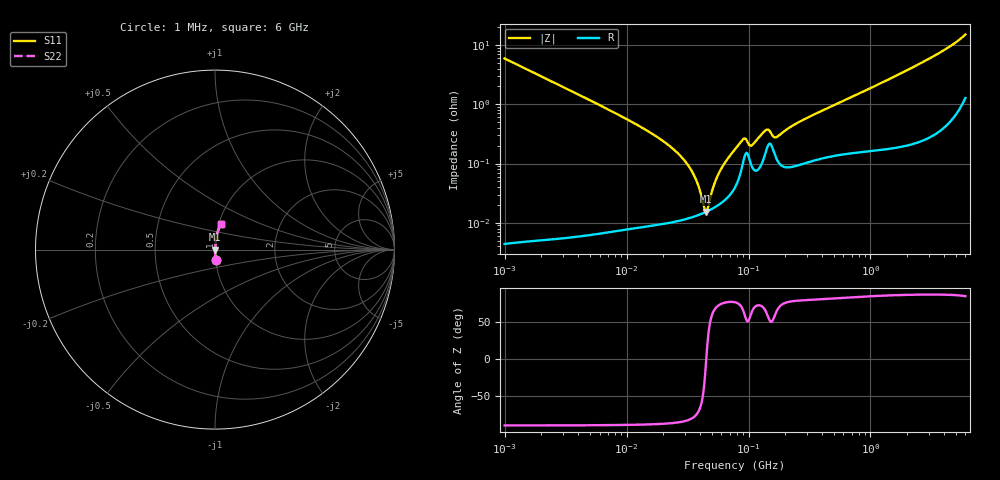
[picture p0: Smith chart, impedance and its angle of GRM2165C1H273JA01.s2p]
!Murata Part Number: GRM2165C1H273JA01
!These Parameters are Measured in Series Mode Connection
!Data Generated on Mar 30, 2021
!  o--ll--o
!Port1  Port2
!  o------o
!Operation Temp=25[degC], DC Bias Voltage=0[V]
!Freq. Start=1000[kHz] Stop=6[GHz] 401[Steps]
# Hz S RI R 50
!Freq.(Hz) S11(Real) S11(Imag) S21(Real) S21(Imag) S12(Real) S12(Imag) S22(Real) S22(Imag)
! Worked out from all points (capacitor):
!   401 points, 1 MHz to 6 GHz, reference 50 ohm
!   read as one part in series: C = 26.8 nF near 1.044 MHz
!   lowest |Z| = 15.3 mohm at 44.97 MHz (marker M1)
!   series resonance near 45.03 MHz, so ESL is about 470 pH
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1000000  0.00355 -0.0591  0.9965 0.0591  0.9965 0.0591  0.00355 -0.0591
4293785  0.000246 -0.0137  0.9998 0.0137  0.9998 0.0137  0.000246 -0.0137
1.843659e7  0.0001 -0.00268  0.9999 0.00268  0.9999 0.00268  0.0001 -0.00268
2.554826e7  0.000108 -0.00158  0.9999 0.00158  0.9999 0.00158  0.000108 -0.00158
3.245342e7  0.00012 -0.000884  0.9999 0.000884  0.9999 0.000884  0.00012 -0.000884
3.697709e7  0.00013 -0.000528  0.9999 0.000528  0.9999 0.000528  0.00013 -0.000528
3.947016e7  0.000137 -0.000352  0.9999 0.000352  0.9999 0.000352  0.000137 -0.000352
4.305766e7  0.000147 -0.00012  0.9999 0.00012  0.9999 0.00012  0.000147 -0.00012
4.497189e7  0.000153 -3.3e-06  0.9998 3.3e-06  0.9998 3.3e-06  0.000153 -3.3e-06
4.697123e7  0.00016 0.000114  0.9998 -0.000114  0.9998 -0.000114  0.00016 0.000114
5.236714e7  0.000181 0.000412  0.9998 -0.000412  0.9998 -0.000412  0.000181 0.000412
5.712686e7  0.000202 0.000659  0.9998 -0.000659  0.9998 -0.000659  0.000202 0.000659
6.508975e7  0.000251 0.00106  0.9997 -0.00106  0.9997 -0.00106  0.000251 0.00106
7.745967e7  0.000397 0.00169  0.9996 -0.00169  0.9996 -0.00169  0.000397 0.00169
9.019724e7  0.00104 0.00235  0.999 -0.00235  0.999 -0.00235  0.00104 0.00235
1.073387e8  0.000864 0.00187  0.9991 -0.00187  0.9991 -0.00187  0.000864 0.00187
1.424119e8  0.00188 0.00325  0.9981 -0.00325  0.9981 -0.00325  0.00188 0.00325
1.694764e8  0.00121 0.00251  0.9988 -0.00251  0.9988 -0.00251  0.00121 0.00251
3.325952e8  0.00114 0.0064  0.9989 -0.0064  0.9989 -0.0064  0.00114 0.0064
1.428092e9  0.00247 0.0265  0.9975 -0.0265  0.9975 -0.0265  0.00247 0.0265
3.5601e9  0.00828 0.0702  0.9917 -0.0702  0.9917 -0.0702  0.00828 0.0702
6e9  0.0339 0.1435  0.9661 -0.1435  0.9661 -0.1435  0.0339 0.1435
